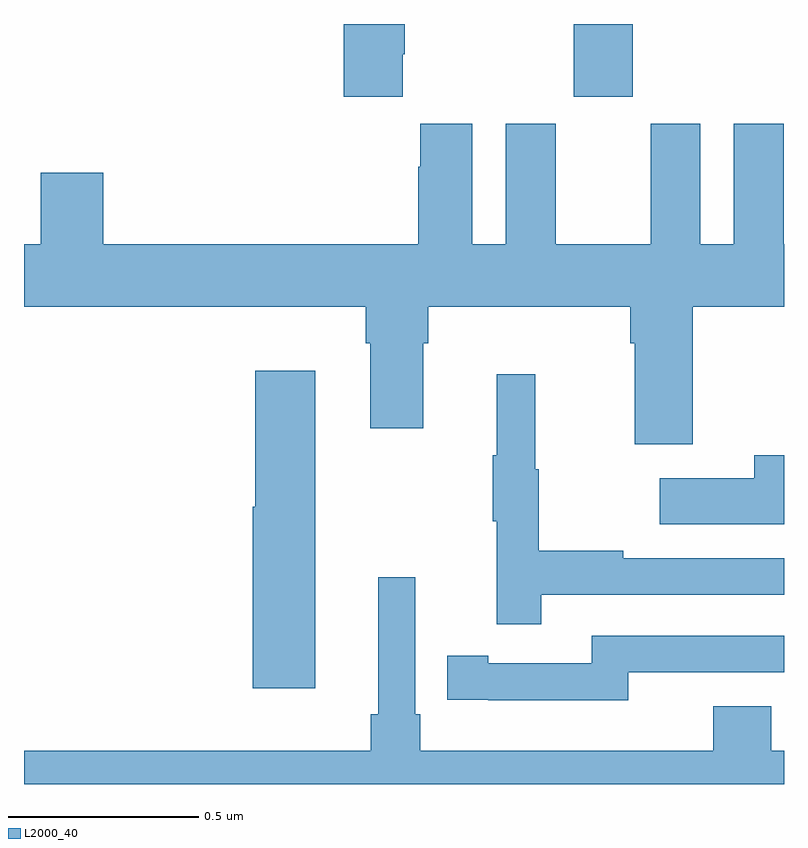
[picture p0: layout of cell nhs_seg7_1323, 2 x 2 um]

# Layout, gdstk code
import gdstk
lib = gdstk.Library(unit=1e-6, precision=1e-09)
def R(c, l, rs):  # rectangles x0, y0, x1, y1
    for r in rs: c.add(gdstk.rectangle(r[:2], r[2:], *l))
def P(c, l, *ps):  # polygons
    for p in ps: c.add(gdstk.Polygon(p, *l))
L2000_40 = (2000, 40)

nhs_seg7_1323 = lib.new_cell('nhs_seg7_1323')
R(nhs_seg7_1323, L2000_40, [(130.447,1027.809,130.602,1028)])
P(nhs_seg7_1323, L2000_40, [(129.997,1027.921),(130.002,1027.921),(130.002,1028),(129.842,1028),(129.842,1027.809),(129.997,1027.809)],
  [(130.76,1027.256),(131,1027.256),(131,1027.42),(130.999,1027.42),(130.999,1027.738),(130.868,1027.738),(130.868,1027.42),(130.78,1027.42),(130.78,1027.738),(130.649,1027.738),(130.649,1027.42),(130.399,1027.42),(130.399,1027.738),(130.268,1027.738),(130.268,1027.42),(130.18,1027.42),(130.18,1027.738),(130.043,1027.738),(130.043,1027.625),(130.037,1027.625),(130.037,1027.42),(129.208,1027.42),(129.208,1027.609),(129.044,1027.609),(129.044,1027.42),(129,1027.42),(129,1027.256),(129.899,1027.256),(129.899,1027.16),(129.911,1027.16),(129.911,1026.936),(130.051,1026.936),(130.051,1027.16),(130.064,1027.16),(130.064,1027.256),(130.595,1027.256),(130.595,1027.16),(130.607,1027.16),(130.607,1026.894),(130.76,1026.894)],
  [(129.766,1027.087),(129.608,1027.087),(129.608,1026.729),(129.602,1026.729),(129.602,1026.252),(129.766,1026.252)],
  [(130.361,1026.498),(131,1026.498),(131,1026.594),(130.577,1026.594),(130.577,1026.614),(130.354,1026.614),(130.354,1026.828),(130.346,1026.828),(130.346,1027.078),(130.244,1027.078),(130.244,1026.865),(130.233,1026.865),(130.233,1026.691),(130.244,1026.691),(130.244,1026.42),(130.361,1026.42)],
  [(131,1026.865),(130.922,1026.865),(130.922,1026.805),(130.673,1026.805),(130.673,1026.683),(131,1026.683)],
  [(131,1026.088),(130.967,1026.088),(130.967,1026.205),(130.814,1026.205),(130.814,1026.088),(130.043,1026.088),(130.043,1026.184),(130.029,1026.184),(130.029,1026.544),(129.932,1026.544),(129.932,1026.184),(129.913,1026.184),(129.913,1026.088),(129,1026.088),(129,1026),(131,1026)],
  [(130.59,1026.294),(131,1026.294),(131,1026.39),(130.494,1026.39),(130.494,1026.318),(130.222,1026.318),(130.222,1026.338),(130.114,1026.338),(130.114,1026.222),(130.222,1026.222),(130.222,1026.221),(130.59,1026.221)])

lib.write_gds('nhs_seg7_1323.gds')
